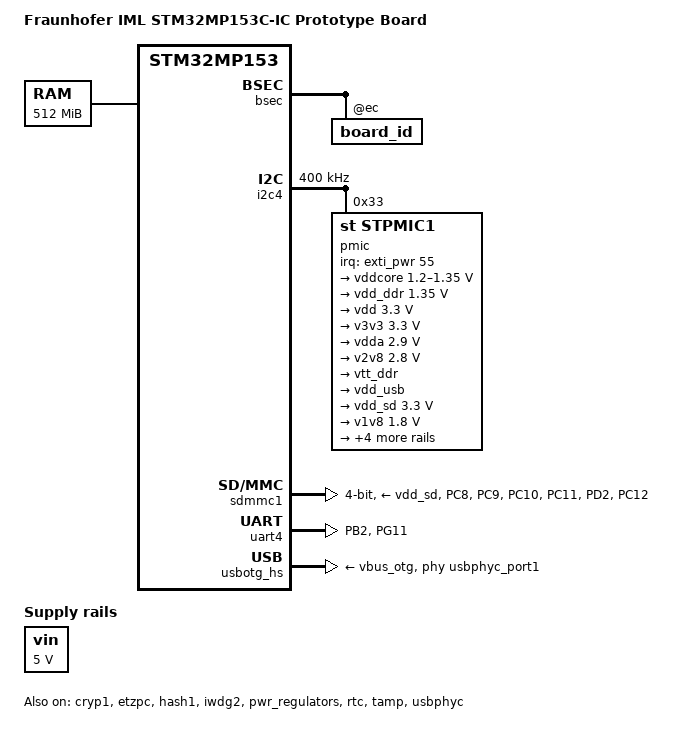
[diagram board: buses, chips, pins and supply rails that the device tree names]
/* SPDX-License-Identifier: (GPL-2.0+ OR BSD-3-Clause) */
/*
 * Copyright (C) STMicroelectronics 2023 - All Rights Reserved
 * Author: STM32CubeMX code generation for STMicroelectronics.
 */

/* For more information on Device Tree configuration, please refer to
 * https://wiki.st.com/stm32mpu/wiki/Category:Device_tree_configuration
 */

/dts-v1/;

#include "stm32mp153.dtsi"
#include "stm32mp15xc.dtsi"
#include "stm32mp15-pinctrl.dtsi"
#include "stm32mp15xxaa-pinctrl.dtsi"

#include <dt-bindings/clock/stm32mp1-clksrc.h>
#include <dt-bindings/power/stm32mp1-power.h>
#include "stm32mp15-ddr3-1x4Gb-1066-binG.dtsi"
#include <dt-bindings/soc/st,stm32-etzpc.h>

/ {
	model = "Fraunhofer IML STM32MP153C-IC Prototype Board";
	compatible = "st,stm32mp153c-ic", "st,stm32mp153";

	memory@c0000000 {
		device_type = "memory";
		reg = <0xc0000000 0x20000000>;
	};

	aliases {
		serial0 = &uart4;
		serial1 = &usart6;
		gpio0 = &gpioa;
		gpio1 = &gpiob;
		gpio2 = &gpioc;
		gpio3 = &gpiod;
		gpio4 = &gpioe;
		gpio5 = &gpiof;
		gpio6 = &gpiog;
		gpio7 = &gpioh;
		gpio8 = &gpioi;
		gpio9 = &gpioj;
		gpio10 = &gpiok;
		gpio25 = &gpioz;
		i2c3 = &i2c4;
	};

	vin: vin {
		compatible = "regulator-fixed";
		regulator-name = "vin";
		regulator-min-microvolt = <5000000>;
		regulator-max-microvolt = <5000000>;
		regulator-always-on;
	};

	chosen {
		stdout-path = "serial0:115200n8";
	};

	clocks {
		/* USER CODE BEGIN clocks */
		/* USER CODE END clocks */

		clk_hsi: clk-hsi {
			clock-frequency = <64000000>;

			/* USER CODE BEGIN clk_hsi */
			/* USER CODE END clk_hsi */
		};
		clk_lse: clk-lse {
			clock-frequency = <32768>;

			/* USER CODE BEGIN clk_lse */
			/* USER CODE END clk_lse */
		};
		clk_hse: clk-hse {
			clock-frequency = <24000000>;
			st,digbypass;

			/* USER CODE BEGIN clk_hse */
			/* USER CODE END clk_hse */
		};
	};
};

&pinctrl {
	rtc_pins_mx: rtc_mx-0 {
		pins {
			pinmux = <STM32_PINMUX('I', 8, ANALOG)>; /* RTC_LSCO */
		};
	};

	sdmmc1_pins_mx: sdmmc1_mx-0 {
		pins1 {
			pinmux = <STM32_PINMUX('C', 8, AF12)>, /* SDMMC1_D0 */
					 <STM32_PINMUX('C', 9, AF12)>, /* SDMMC1_D1 */
					 <STM32_PINMUX('C', 10, AF12)>, /* SDMMC1_D2 */
					 <STM32_PINMUX('C', 11, AF12)>, /* SDMMC1_D3 */
					 <STM32_PINMUX('D', 2, AF12)>; /* SDMMC1_CMD */
			bias-disable;
			drive-push-pull;
			slew-rate = <1>;
		};
		pins2 {
			pinmux = <STM32_PINMUX('C', 12, AF12)>; /* SDMMC1_CK */
			bias-disable;
			drive-push-pull;
			slew-rate = <2>;
		};
	};

	uart4_pins_mx: uart4_mx-0 {
		pins1 {
			pinmux = <STM32_PINMUX('B', 2, AF8)>; /* UART4_RX */
			bias-disable;
		};
		pins2 {
			pinmux = <STM32_PINMUX('G', 11, AF6)>; /* UART4_TX */
			bias-disable;
			drive-push-pull;
			slew-rate = <0>;
		};
	};

	/* USER CODE BEGIN pinctrl */
	/* USER CODE END pinctrl */
};

&pinctrl_z {
	i2c4_pins_z_mx: i2c4_mx-0 {
		pins {
			pinmux = <STM32_PINMUX('Z', 4, AF6)>, /* I2C4_SCL */
					 <STM32_PINMUX('Z', 5, AF6)>; /* I2C4_SDA */
			bias-disable;
			drive-open-drain;
			slew-rate = <0>;
		};
	};

	/* USER CODE BEGIN pinctrl_z */
	/* USER CODE END pinctrl_z */
};

&bsec {
	status = "okay";

	/* USER CODE BEGIN bsec */
	board_id: board_id@ec {
		reg = <0xec 0x4>;
		st,non-secure-otp;
	};
	/* USER CODE END bsec */
};

/* TODO Required? */
&clk_hse {
	st,digbypass;
};

&cpu0{
	cpu-supply = <&vddcore>;
};

&cpu1{
	cpu-supply = <&vddcore>;
};

/* TODO Required? */
&cryp1 {
	status = "okay";
};

&etzpc{
	status = "okay";
	st,decprot = <
	/*"NS_R S_W" peripherals*/
	DECPROT(STM32MP1_ETZPC_DDRCTRL_ID, DECPROT_NS_R_S_W, DECPROT_LOCK)
	DECPROT(STM32MP1_ETZPC_DDRPHYC_ID, DECPROT_NS_R_S_W, DECPROT_LOCK)
	/*"Non Secured" peripherals*/
	DECPROT(STM32MP1_ETZPC_DMA1_ID, DECPROT_NS_RW, DECPROT_UNLOCK)
	DECPROT(STM32MP1_ETZPC_DMAMUX_ID, DECPROT_NS_RW, DECPROT_UNLOCK)
	DECPROT(STM32MP1_ETZPC_I2C1_ID, DECPROT_NS_RW, DECPROT_UNLOCK)
	DECPROT(STM32MP1_ETZPC_I2C4_ID, DECPROT_NS_RW, DECPROT_UNLOCK)
	DECPROT(STM32MP1_ETZPC_I2C6_ID, DECPROT_NS_RW, DECPROT_UNLOCK)
	DECPROT(STM32MP1_ETZPC_SAI2_ID, DECPROT_NS_RW, DECPROT_UNLOCK)
	DECPROT(STM32MP1_ETZPC_SDMMC3_ID, DECPROT_NS_RW, DECPROT_UNLOCK)
	DECPROT(STM32MP1_ETZPC_DLYBSD3_ID, DECPROT_NS_RW, DECPROT_UNLOCK)
	DECPROT(STM32MP1_ETZPC_SPI4_ID, DECPROT_NS_RW, DECPROT_UNLOCK)
	DECPROT(STM32MP1_ETZPC_SPI5_ID, DECPROT_NS_RW, DECPROT_UNLOCK)
	DECPROT(STM32MP1_ETZPC_UART4_ID, DECPROT_NS_RW, DECPROT_UNLOCK)
	DECPROT(STM32MP1_ETZPC_UART7_ID, DECPROT_NS_RW, DECPROT_UNLOCK)
	DECPROT(STM32MP1_ETZPC_UART8_ID, DECPROT_NS_RW, DECPROT_UNLOCK)
	DECPROT(STM32MP1_ETZPC_USART2_ID, DECPROT_NS_RW, DECPROT_UNLOCK)
	DECPROT(STM32MP1_ETZPC_USART6_ID, DECPROT_NS_RW, DECPROT_UNLOCK)
	DECPROT(STM32MP1_ETZPC_OTG_ID, DECPROT_NS_RW, DECPROT_UNLOCK)
	/*"Secured" peripherals*/
	DECPROT(STM32MP1_ETZPC_STGENC_ID, DECPROT_S_RW, DECPROT_UNLOCK)
	/*"Mcu Isolation" peripherals*/
	DECPROT(STM32MP1_ETZPC_DMA2_ID, DECPROT_MCU_ISOLATION, DECPROT_UNLOCK)
	DECPROT(STM32MP1_ETZPC_I2C5_ID, DECPROT_MCU_ISOLATION, DECPROT_UNLOCK)

	/*Restriction: following IDs are not managed  - please to use User-Section if needed:
		  STM32MP1_ETZPC_SRAMx_ID  STM32MP1_ETZPC_RETRAM_ID  STM32MP1_ETZPC_BKPSRAM_ID*/

	/* USER CODE BEGIN etzpc_decprot */
		/*STM32CubeMX generates a basic and standard configuration for ETZPC.
		Additional device configurations can be added here if needed.
		"etzpc" node could be also overloaded in "addons" User-Section.*/
	/* USER CODE END etzpc_decprot */
	>;

	/* USER CODE BEGIN etzpc */
	/* USER CODE END etzpc */
};

/* TODO Required? */
&hash1 {
	status = "okay";
};

&i2c4{
	pinctrl-names = "default";
	pinctrl-0 = <&i2c4_pins_z_mx>;
	status = "okay";

	/* USER CODE BEGIN i2c4 */
	i2c-scl-rising-time-ns = <185>;
	i2c-scl-falling-time-ns = <20>;
	clock-frequency = <400000>;

	pmic: stpmic@33 {
		compatible = "st,stpmic1";
		reg = <0x33>;
		interrupts-extended = <&exti_pwr 55 IRQ_TYPE_EDGE_FALLING>;
		interrupt-controller;
		#interrupt-cells = <2>;
		status = "okay";

		regulators {
			compatible = "st,stpmic1-regulators";
			buck1-supply = <&vin>;
			buck2-supply = <&vin>;
			buck3-supply = <&vin>;
			buck4-supply = <&vin>;
			ldo1-supply = <&v3v3>;
			ldo2-supply = <&vin>;
			ldo3-supply = <&vdd_ddr>;
			ldo4-supply = <&vin>;
			ldo5-supply = <&vin>;
			ldo6-supply = <&v3v3>;
			vref_ddr-supply = <&vin>;
			boost-supply = <&vin>;
			pwr_sw1-supply = <&bst_out>;
			pwr_sw2-supply = <&bst_out>;

			vddcore: buck1 {
				regulator-name = "vddcore";
				regulator-min-microvolt = <1200000>;
				regulator-max-microvolt = <1350000>;
				regulator-always-on;
				regulator-initial-mode = <0>;
				regulator-over-current-protection;
			};

			vdd_ddr: buck2 {
				regulator-name = "vdd_ddr";
				regulator-min-microvolt = <1350000>;
				regulator-max-microvolt = <1350000>;
				regulator-always-on;
				regulator-initial-mode = <0>;
				regulator-over-current-protection;
			};

			vdd: buck3 {
				regulator-name = "vdd";
				regulator-min-microvolt = <3300000>;
				regulator-max-microvolt = <3300000>;
				regulator-always-on;
				st,mask-reset;
				regulator-initial-mode = <0>;
				regulator-over-current-protection;
			};

			v3v3: buck4 {
				regulator-name = "v3v3";
				regulator-min-microvolt = <3300000>;
				regulator-max-microvolt = <3300000>;
				regulator-always-on;
				regulator-over-current-protection;
				regulator-initial-mode = <0>;
			};

			vdda: ldo1 {
				regulator-name = "vdda";
				regulator-min-microvolt = <2900000>;
				regulator-max-microvolt = <2900000>;
			};

			v2v8: ldo2 {
				regulator-name = "v2v8";
				regulator-min-microvolt = <2800000>;
				regulator-max-microvolt = <2800000>;
			};

			vtt_ddr: ldo3 {
				regulator-name = "vtt_ddr";
				regulator-always-on;
				regulator-over-current-protection;
				st,regulator-sink-source;
			};

			vdd_usb: ldo4 {
				regulator-name = "vdd_usb";
			};

			vdd_sd: ldo5 {
				regulator-name = "vdd_sd";
				regulator-min-microvolt = <3300000>;
				regulator-max-microvolt = <3300000>;
				regulator-boot-on;
			};

			v1v8: ldo6 {
				regulator-name = "v1v8";
				regulator-min-microvolt = <1800000>;
				regulator-max-microvolt = <1800000>;
				regulator-enable-ramp-delay = <300000>;
			};

			vref_ddr: vref_ddr {
				regulator-name = "vref_ddr";
				regulator-always-on;
			};

			bst_out: boost {
				regulator-name = "bst_out";
			};

			vbus_otg: pwr_sw1 {
				regulator-name = "vbus_otg";
			};

			vbus_sw: pwr_sw2 {
				regulator-name = "vbus_sw";
				regulator-active-discharge = <1>;
			};
		};
	};
	/* USER CODE END i2c4 */
};

&iwdg2 {
	status = "okay";

	/* USER CODE BEGIN iwdg2 */
	timeout-sec = <32>;
	secure-timeout-sec = <5>;
	/* USER CODE END iwdg2 */
};

&pwr_regulators {
	status = "okay";

	/* USER CODE BEGIN pwr_regulators */
	system_suspend_supported_soc_modes = <
		STM32_PM_CSLEEP_RUN
		STM32_PM_CSTOP_ALLOW_LP_STOP
		STM32_PM_CSTOP_ALLOW_LPLV_STOP
		STM32_PM_CSTOP_ALLOW_STANDBY_DDR_SR
	>;
	system_off_soc_mode = <STM32_PM_CSTOP_ALLOW_STANDBY_DDR_OFF>;
	vdd-supply = <&vdd>;
	vdd_3v3_usbfs-supply = <&vdd_usb>;
	/* USER CODE END pwr_regulators */
};

&rcc{
	status = "okay";

	/* USER CODE BEGIN rcc */
	st,hsi-cal;
	st,csi-cal;
	st,cal-sec = <60>;
	/* USER CODE END rcc */

	st,clksrc = <
		CLK_MPU_PLL1P
		CLK_AXI_PLL2P
		CLK_MCU_PLL3P
		CLK_PLL12_HSE
		CLK_PLL3_HSE
		CLK_PLL4_HSE
		CLK_RTC_LSE
		CLK_MCO1_DISABLED
		CLK_MCO2_DISABLED
	>;
	st,clkdiv = <
		0 		/*MPU*/
		0 		/*AXI*/
		0 		/*MCU*/
		1 		/*APB1*/
		1 		/*APB2*/
		1 		/*APB3*/
		1 		/*APB4*/
		2 		/*APB5*/
		23 		/*RTC*/
		0 		/*MCO1*/
		0 		/*MCO2*/
	>;
	st,pkcs = <
		CLK_CKPER_DISABLED
		CLK_ETH_DISABLED
		CLK_SDMMC12_PLL4P
		CLK_STGEN_HSE
		CLK_USBPHY_HSE
		CLK_SPI2S1_DISABLED
		CLK_SPI2S23_DISABLED
		CLK_SPI45_HSI
		CLK_SPI6_DISABLED
		CLK_I2C46_HSI
		CLK_SDMMC3_PLL4P
		CLK_USBO_USBPHY
		CLK_ADC_DISABLED
		CLK_CEC_DISABLED
		CLK_I2C12_HSI
		CLK_I2C35_HSI
		CLK_UART1_DISABLED
		CLK_UART24_HSI
		CLK_UART35_DISABLED
		CLK_UART6_HSI
		CLK_UART78_HSI
		CLK_SPDIF_DISABLED
		CLK_SAI1_DISABLED
		CLK_SAI2_PLL3Q
		CLK_SAI3_DISABLED
		CLK_SAI4_DISABLED
		CLK_LPTIM1_DISABLED
		CLK_LPTIM23_DISABLED
		CLK_LPTIM45_DISABLED
	>;
	pll2:st,pll@1 {
		compatible = "st,stm32mp1-pll";
		reg = <1>;
		cfg = < 2 65 1 1 0 PQR(1,0,1) >;
		frac = < 0x1400 >;
	};
	pll3:st,pll@2 {
		compatible = "st,stm32mp1-pll";
		reg = <2>;
		cfg = < 1 51 2 16 36 PQR(1,1,0) >;
		frac = < 0x800 >;
	};
	pll4:st,pll@3 {
		compatible = "st,stm32mp1-pll";
		reg = <3>;
		cfg = < 1 39 4 5 5 PQR(1,0,0) >;
	};
};

&rtc {
	pinctrl-names = "default";
	pinctrl-0 = <&rtc_pins_mx>;
	status = "okay";
};

&sdmmc1 {
	pinctrl-names = "default";
	pinctrl-0 = <&sdmmc1_pins_mx>;
	status = "okay";

	/* USER CODE BEGIN sdmmc1 */
	broken-cd;
	disable-wp;
	st,neg-edge;
	// st,use-ckin;
	bus-width = <4>;
	vmmc-supply = <&vdd_sd>;
	sd-uhs-sdr12;
	sd-uhs-sdr25;
	sd-uhs-sdr50;
	sd-uhs-ddr50;
	/* USER CODE END sdmmc1 */
};

&tamp{
	status = "okay";

	/* USER CODE BEGIN tamp */
	/* USER CODE END tamp */
};

&uart4 {
	pinctrl-names = "default";
	pinctrl-0 = <&uart4_pins_mx>;
	status = "okay";
};

/* USER CODE BEGIN addons */
&usbotg_hs {
	pinctrl-0 = <&usbotg_hs_pins_a>;
	pinctrl-names = "default";
	phys = <&usbphyc_port1 0>;
	phy-names = "usb2-phy";
	status = "okay";
	vbus-supply = <&vbus_otg>;
};

&usbphyc {
	status = "okay";
};

&usbphyc_port0 {
	phy-supply = <&vdd_usb>;
};

&usbphyc_port1 {
	phy-supply = <&vdd_usb>;
};

/* Low-power states of regulators */
&v1v8 {
	standby-ddr-sr {
		regulator-off-in-suspend;
	};
	standby-ddr-off {
		regulator-off-in-suspend;
	};
};

&v2v8 {
	standby-ddr-sr {
		regulator-off-in-suspend;
	};
	standby-ddr-off {
		regulator-off-in-suspend;
	};
};

&v3v3 {
	lp-stop {
		regulator-suspend-microvolt = <3300000>;
		regulator-on-in-suspend;
	};
	standby-ddr-sr {
		regulator-off-in-suspend;
	};
	standby-ddr-off {
		regulator-off-in-suspend;
	};
};

&vdd {
	lp-stop {
		regulator-suspend-microvolt = <3300000>;
		regulator-on-in-suspend;
	};
	standby-ddr-sr {
		regulator-suspend-microvolt = <3300000>;
		regulator-on-in-suspend;
	};
	standby-ddr-off {
		regulator-suspend-microvolt = <3300000>;
		regulator-on-in-suspend;
	};
};

&vdda {
	standby-ddr-sr {
		regulator-off-in-suspend;
	};
	standby-ddr-off {
		regulator-off-in-suspend;
	};
};

&vddcore {
	lp-stop {
		regulator-on-in-suspend;
		regulator-suspend-microvolt = <1200000>;
	};
	standby-ddr-sr {
		regulator-off-in-suspend;
	};
	standby-ddr-off {
		regulator-off-in-suspend;
	};
};

&vdd_ddr {
	lp-stop {
		regulator-suspend-microvolt = <1350000>;
		regulator-on-in-suspend;
	};
	standby-ddr-sr {
		regulator-suspend-microvolt = <1350000>;
		regulator-on-in-suspend;
	};
	standby-ddr-off {
		regulator-off-in-suspend;
	};
};

&vdd_sd {
	standby-ddr-sr {
		regulator-off-in-suspend;
	};
	standby-ddr-off {
		regulator-off-in-suspend;
	};
};

&vdd_usb {
	standby-ddr-sr {
		regulator-off-in-suspend;
	};
	standby-ddr-off {
		regulator-off-in-suspend;
	};
};

&vref_ddr {
	lp-stop {
		regulator-on-in-suspend;
	};
	standby-ddr-sr {
		regulator-on-in-suspend;
	};
	standby-ddr-off {
		regulator-off-in-suspend;
	};
};

&vtt_ddr {
	lp-stop {
		regulator-off-in-suspend;
	};
	standby-ddr-sr {
		regulator-off-in-suspend;
	};
	standby-ddr-off {
		regulator-off-in-suspend;
	};
};
/* USER CODE END addons */

